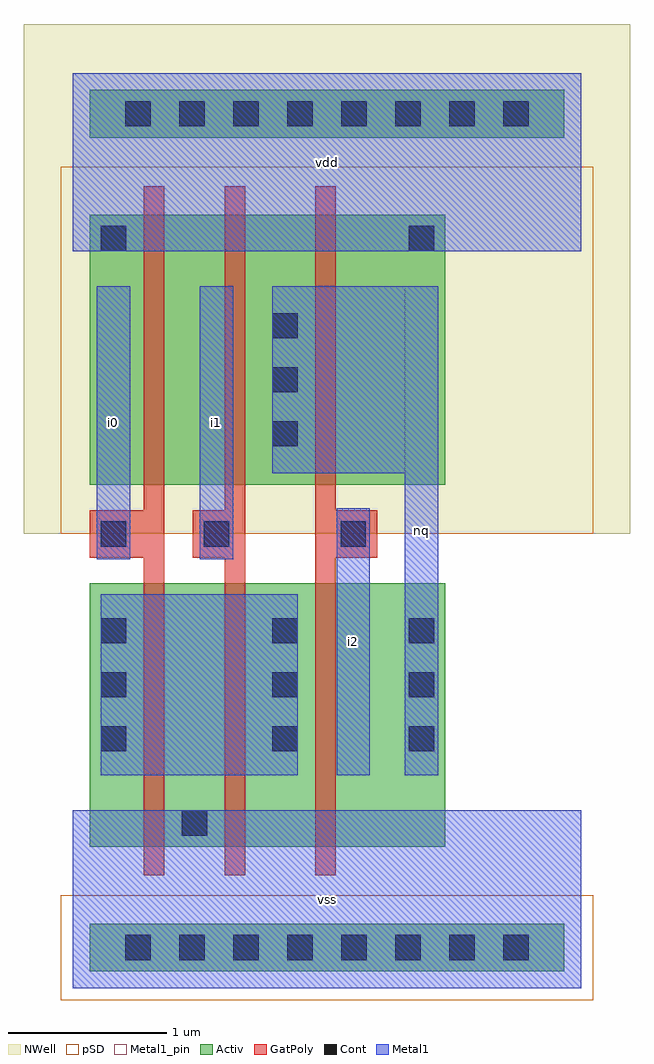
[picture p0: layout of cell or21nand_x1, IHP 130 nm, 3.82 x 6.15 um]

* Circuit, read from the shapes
.subckt or21nand_x1 i0 i1 i2 nq vdd vss
XM1 vss i0 n1 vss sg13_lv_nmos w=1.66u l=0.13u
XM2 n1 i1 vss vss sg13_lv_nmos w=1.66u l=0.13u
XM3 nq i2 n1 vss sg13_lv_nmos w=1.66u l=0.13u
XM4 n2 i0 vdd vdd sg13_lv_pmos w=1.7u l=0.13u
XM5 nq i1 n2 vdd sg13_lv_pmos w=1.7u l=0.13u
XM6 vdd i2 nq vdd sg13_lv_pmos w=1.7u l=0.13u
.ends

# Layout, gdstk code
import gdstk
lib = gdstk.Library(unit=1e-6, precision=1e-09)
def R(c, l, rs):  # rectangles x0, y0, x1, y1
    for r in rs: c.add(gdstk.rectangle(r[:2], r[2:], *l))
def A(c, l, x, y, w, h, nx, ny, dx, dy):  # array of equal rectangles
    R(c, l, [(x+i*dx, y+j*dy, x+i*dx+w, y+j*dy+h) for i in range(nx) for j in range(ny)])
def P(c, l, *ps):  # polygons
    for p in ps: c.add(gdstk.Polygon(p, *l))
Activ = (1, 0)
GatPoly = (5, 0)
Cont = (6, 0)
Metal1 = (8, 0)
Metal1_pin = (8, 2)
pSD = (14, 0)
NWell = (31, 0)

or21nand_x1 = lib.new_cell('or21nand_x1')
R(or21nand_x1, Activ, [(0.105,0.105,3.095,0.405), (0.105,0.89,2.345,2.55), (0.105,3.17,2.345,4.87), (0.105,5.355,3.095,5.655)])
P(or21nand_x1, GatPoly, [(0.445,0.71),(0.445,2.71),(0.105,2.71),(0.105,3.01),(0.445,3.01),(0.445,5.05),(0.575,5.05),(0.575,0.71)],
  [(0.955,0.71),(0.955,2.71),(0.755,2.71),(0.755,3.01),(0.955,3.01),(0.955,5.05),(1.085,5.05),(1.085,0.71)],
  [(1.525,0.71),(1.525,5.05),(1.655,5.05),(1.655,3.01),(1.915,3.01),(1.915,2.71),(1.655,2.71),(1.655,0.71)])
A(or21nand_x1, Cont, 0.33, 0.175, 0.16, 0.16, 8, 2, 0.34, 5.25)
A(or21nand_x1, Cont, 0.175, 1.49, 0.16, 0.16, 1, 3, 0, 0.34)
A(or21nand_x1, Cont, 1.255, 1.49, 0.16, 0.16, 1, 3, 0, 0.34)
A(or21nand_x1, Cont, 2.115, 1.49, 0.16, 0.16, 1, 3, 0, 0.34)
A(or21nand_x1, Cont, 1.255, 3.41, 0.16, 0.16, 1, 3, 0, 0.34)
R(or21nand_x1, Cont, [(0.685,0.96,0.845,1.12), (0.175,2.78,0.335,2.94), (0.825,2.78,0.985,2.94), (1.685,2.78,1.845,2.94), (0.175,4.64,0.335,4.8), (2.115,4.64,2.275,4.8)])
R(or21nand_x1, Metal1, [(0,0,3.2,1.12), (0.175,1.34,1.415,2.48), (1.66,1.34,1.87,3.02), (0.15,2.7,0.36,4.42), (0.8,2.7,1.01,4.42), (0,4.64,3.2,5.76)])
P(or21nand_x1, Metal1, [(2.09,1.34),(2.09,3.24),(1.255,3.24),(1.255,4.42),(2.3,4.42),(2.3,1.34)])
R(or21nand_x1, Metal1_pin, [(0,0,3.2,1.12), (1.66,1.34,1.87,3.02), (2.09,1.34,2.3,4.42), (0.15,2.7,0.36,4.42), (0.8,2.7,1.01,4.42), (0,4.64,3.2,5.76)])
R(or21nand_x1, pSD, [(-0.075,-0.075,3.275,0.585), (-0.075,2.86,3.275,5.17)])
R(or21nand_x1, NWell, [(-0.31,2.86,3.51,6.07)])
or21nand_x1.add(gdstk.Label('vdd', (1.6,5.2), layer=8, texttype=2))
or21nand_x1.add(gdstk.Label('vss', (1.6,0.56), layer=8, texttype=2))
or21nand_x1.add(gdstk.Label('i0', (0.255,3.56), layer=8, texttype=2))
or21nand_x1.add(gdstk.Label('i1', (0.905,3.56), layer=8, texttype=2))
or21nand_x1.add(gdstk.Label('nq', (2.195,2.88), layer=8, texttype=2))
or21nand_x1.add(gdstk.Label('i2', (1.765,2.18), layer=8, texttype=2))

lib.write_gds('or21nand_x1.gds')
